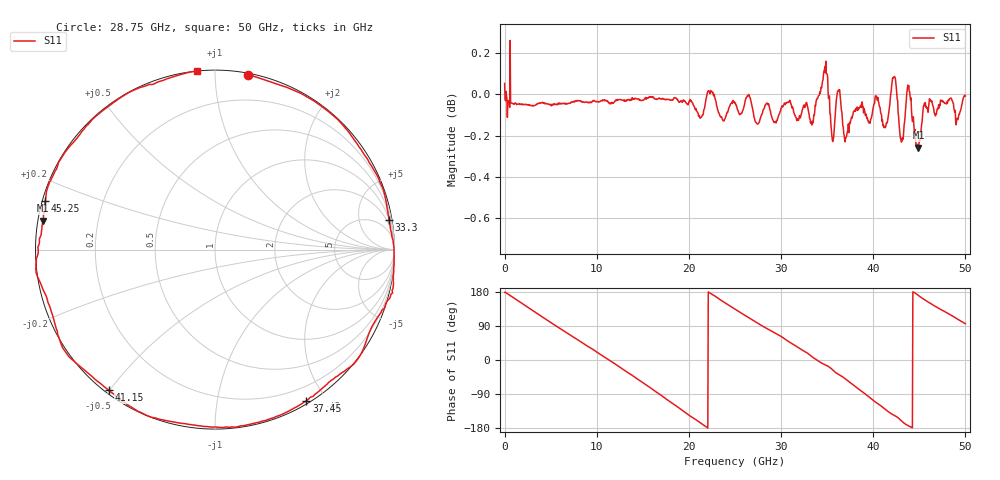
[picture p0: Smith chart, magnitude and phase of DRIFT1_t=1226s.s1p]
!Created with skrf (http://scikit-rf.org).
# Hz S RI R 50.0
!freq ReS11 ImS11
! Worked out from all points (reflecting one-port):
!   1001 points, 300 kHz to 50 GHz, reference 50 ohm
!   lowest |S11| = -0.3 dB at 44.9 GHz (marker M1), VSWR 66.87, Z = 0.753 + j4.18 ohm
!   phase of S11 starts at 178 deg and turns -803 deg over the sweep
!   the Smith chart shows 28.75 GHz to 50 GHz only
!   S11 on the Smith chart (normalised r, x): 28.75 GHz: 0.01, +1.21; 33.3 GHz: 1, +12; 37.45 GHz: 0.03, -1.77; 41.15 GHz: 0.01, -0.50; 45.25 GHz: 0.01, +0.14; 50 GHz: 0.00, +0.91
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300000  -1.006 0.0278
1.70029e9  -0.8802 0.4629
3.550279e9  -0.5296 0.8419
6.250262e9  0.1813 0.9781
7.950252e9  0.5988 0.7966
9.800241e9  0.9101 0.4055
1.250022e10  0.9436 -0.3225
1.395022e10  0.7387 -0.6705
1.58502e10  0.2772 -0.9591
1.72502e10  -0.1366 -0.9879
1.875019e10  -0.5493 -0.8323
2.025018e10  -0.8604 -0.5024
2.200017e10  -1 -0.0256
2.500015e10  -0.6971 0.7106
2.670014e10  -0.3257 0.9422
2.875013e10  0.1853 0.9747
3.125011e10  0.7369 0.6654
3.33001e10  0.9703 0.1642
3.500009e10  0.976 -0.2653
3.745008e10  0.5097 -0.8422
3.750008e10  0.4951 -0.8502
3.920006e10  -0.0124 -0.9891
4.115005e10  -0.5922 -0.7829
4.375004e10  -0.9971 -0.1273
4.490003e10  -0.9571 0.161
4.525003e10  -0.9456 0.269
4.735002e10  -0.6769 0.7309
5e10  -0.0993 0.9942
